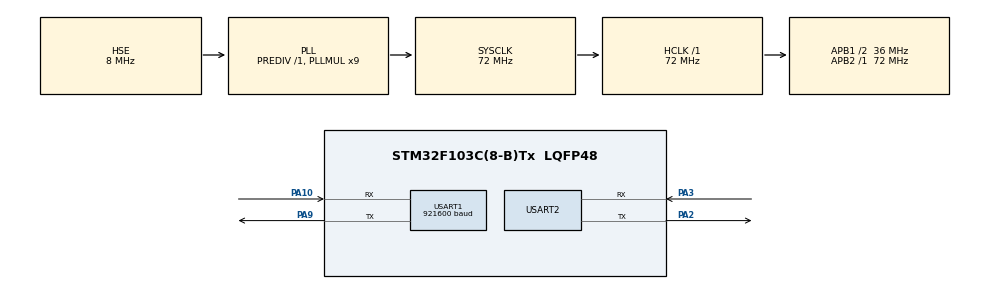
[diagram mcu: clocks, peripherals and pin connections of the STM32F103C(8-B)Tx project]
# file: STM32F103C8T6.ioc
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Mcu.Family=STM32F1
Mcu.Name=STM32F103C(8-B)Tx
Mcu.Package=LQFP48
NVIC.PriorityGroup=NVIC_PRIORITYGROUP_4
NVIC.USART1_IRQn=true\:0\:0\:false\:false\:true\:true\:true\:true
NVIC.USART2_IRQn=true\:0\:0\:false\:false\:true\:true\:true\:true
PA10.Mode=Asynchronous
PA10.Signal=USART1_RX
PA13.Mode=Serial_Wire
PA13.Signal=SYS_JTMS-SWDIO
PA14.Mode=Serial_Wire
PA14.Signal=SYS_JTCK-SWCLK
PA2.Mode=Asynchronous
PA2.Signal=USART2_TX
PA3.Mode=Asynchronous
PA3.Signal=USART2_RX
PA9.Mode=Asynchronous
PA9.Signal=USART1_TX
PD0-OSC_IN.Mode=HSE-External-Oscillator
PD0-OSC_IN.Signal=RCC_OSC_IN
PD1-OSC_OUT.Mode=HSE-External-Oscillator
PD1-OSC_OUT.Signal=RCC_OSC_OUT
ProjectManager.HeapSize=0x200
ProjectManager.StackSize=0x400
ProjectManager.TargetToolchain=MDK-ARM V5.32
RCC.AHBFreq_Value=72000000
RCC.APB1CLKDivider=RCC_HCLK_DIV2
RCC.APB1Freq_Value=36000000
RCC.APB1TimFreq_Value=72000000
RCC.APB2Freq_Value=72000000
RCC.APB2TimFreq_Value=72000000
RCC.HCLKFreq_Value=72000000
RCC.PLLMUL=RCC_PLL_MUL9
RCC.PLLSourceVirtual=RCC_PLLSOURCE_HSE
RCC.SYSCLKFreq_VALUE=72000000
RCC.SYSCLKSource=RCC_SYSCLKSOURCE_PLLCLK
RCC.USBFreq_Value=72000000
USART1.BaudRate=921600
USART1.VirtualMode=VM_ASYNC
USART2.VirtualMode=VM_ASYNC
board=custom

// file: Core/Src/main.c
/* USER CODE BEGIN Header */
/**
  ******************************************************************************
  * @file           : main.c
  * @brief          : Main program body
  ******************************************************************************
  * @attention
  *
  * Copyright (c) 2026 STMicroelectronics.
  * All rights reserved.
  *
  * This software is licensed under terms that can be found in the LICENSE file
  * in the root directory of this software component.
  * If no LICENSE file comes with this software, it is provided AS-IS.
  *
  ******************************************************************************
  */
/* USER CODE END Header */
#include "main.h"

/* USER CODE BEGIN Includes */
#include "protocol.h"
#include <stdio.h>

/* USER CODE END Includes */

UART_HandleTypeDef huart1;
UART_HandleTypeDef huart2;

/* USER CODE BEGIN PV */

uint8_t uart_sync_byte = 0;

uint8_t uart_rx_frame[
    PROTOCOL_ATTITUDE_FRAME_LEN
];

volatile uint8_t uart_rx_state = 0;
volatile uint8_t uart_frame_pending = 0;

volatile HAL_StatusTypeDef uart_rx_start_status = HAL_ERROR;

Protocol_Attitude_t received_attitude;

uint16_t received_sequence = 0;

volatile Protocol_Status_t protocol_last_status = PROTOCOL_OK;

volatile uint32_t frame_ok_count = 0;
volatile uint32_t frame_crc_error_count = 0;
volatile uint32_t frame_other_error_count = 0;

volatile uint32_t frame_rate = 0;

uint32_t frame_rate_last_tick = 0;
uint32_t frame_rate_last_count = 0;

uint8_t retransmit_request_frame[
    PROTOCOL_RETRANSMIT_REQUEST_LEN
];

volatile uint8_t
    retransmit_request_pending = 0;

volatile uint16_t
    retransmit_request_sequence = 0;

volatile HAL_StatusTypeDef
    retransmit_request_tx_status = HAL_ERROR;

volatile uint32_t
    retransmit_request_tx_count = 0;

volatile uint32_t
    retransmit_request_tx_error_count = 0;

/* Wait for the requested frame to come back */
volatile uint8_t retransmit_waiting = 0;

volatile uint16_t
    retransmit_waiting_sequence = 0;

volatile uint32_t
    retransmit_success_count = 0;

char pc_attitude_buffer[64];

uint32_t pc_attitude_last_tick = 0;

volatile uint8_t pc_attitude_tx_busy = 0;

volatile HAL_StatusTypeDef
    pc_attitude_tx_status = HAL_ERROR;

volatile uint32_t
    pc_attitude_tx_count = 0;

volatile uint32_t
    pc_attitude_tx_busy_count = 0;

uint8_t pc_rx_byte = 0;

char pc_rx_line[64];

volatile uint8_t pc_rx_index = 0;
volatile uint8_t pc_command_pending = 0;

volatile HAL_StatusTypeDef
    pc_rx_start_status = HAL_ERROR;

volatile float pc_kp = 0.0f;
volatile float pc_ki = 0.0f;

volatile uint32_t
    pc_gain_cmd_count = 0;

volatile uint32_t
    pc_gain_cmd_error_count = 0;

uint8_t gains_tx_frame[
    PROTOCOL_SET_GAINS_FRAME_LEN
];

volatile uint16_t
    gains_tx_sequence = 0;

volatile HAL_StatusTypeDef
    gains_tx_status = HAL_ERROR;

volatile uint32_t
    gains_tx_count = 0;

volatile uint32_t
    gains_tx_error_count = 0;

volatile uint8_t
    gains_waiting = 0;

volatile uint16_t
    gains_waiting_sequence = 0;

volatile Protocol_Status_t
    gains_ack_status = PROTOCOL_OK;

uint16_t gains_ack_sequence = 0;

float gains_ack_kp = 0.0f;
float gains_ack_ki = 0.0f;

uint8_t gains_ack_result = 0xFF;

volatile uint32_t
    gains_ack_count = 0;

volatile uint32_t
    gains_ack_error_count = 0;

volatile uint8_t
    pc_gain_ack_pending = 0;

char pc_gain_ack_buffer[64];

volatile HAL_StatusTypeDef
    pc_gain_ack_tx_status = HAL_ERROR;

volatile uint32_t
    pc_gain_ack_tx_count = 0;
/* USER CODE END PV */

void SystemClock_Config(void);
static void MX_GPIO_Init(void);
static void MX_USART1_UART_Init(void);
static void MX_USART2_UART_Init(void);

int main(void)
{

  /* MCU Configuration--------------------------------------------------------*/

  /* Reset of all peripherals, Initializes the Flash interface and the Systick. */
  HAL_Init();

  /* Configure the system clock */
  SystemClock_Config();

  /* Initialize all configured peripherals */
  MX_GPIO_Init();
  MX_USART1_UART_Init();
  MX_USART2_UART_Init();
  /* USER CODE BEGIN 2 */

uart_rx_state = 0;

uart_rx_start_status =
    HAL_UART_Receive_IT(
        &huart1,
        &uart_sync_byte,
        1
    );

frame_rate_last_tick =
    HAL_GetTick();

frame_rate_last_count =
    frame_ok_count;

pc_attitude_last_tick = HAL_GetTick();

pc_rx_start_status =
    HAL_UART_Receive_IT(
        &huart2,
        &pc_rx_byte,
        1
    );
  /* USER CODE END 2 */

  /* Infinite loop */
  while (1)
  {

    /* USER CODE BEGIN 3 */

		if (uart_frame_pending)
		{
if (uart_rx_frame[2] ==
    PROTOCOL_CMD_ATTITUDE)
{
    protocol_last_status =
        Protocol_ParseAttitudeFrame(
            uart_rx_frame,
            PROTOCOL_ATTITUDE_FRAME_LEN,
            &received_sequence,
            &received_attitude
        );

    if (protocol_last_status == PROTOCOL_OK)
    {
        frame_ok_count++;

        /*
         * Was this the frame we requested again?
         */
        if ((retransmit_waiting != 0) &&
            (received_sequence ==
             retransmit_waiting_sequence))
        {
            retransmit_success_count++;

            retransmit_waiting = 0;
        }
    }
    else if (
        protocol_last_status ==
        PROTOCOL_ERROR_CRC
    )
    {
        frame_crc_error_count++;

        /*
         * Protocol_ParseAttitudeFrame()
         * already extracted SEQ before
         * checking CRC.
         */
        retransmit_request_sequence =
            received_sequence;

        retransmit_request_pending = 1;
    }
    else
    {
        frame_other_error_count++;
    }
}
else if (uart_rx_frame[2] ==
         PROTOCOL_CMD_GAINS_ACK)
{
    gains_ack_status =
        Protocol_ParseGainsAckFrame(
            uart_rx_frame,
            PROTOCOL_GAINS_ACK_FRAME_LEN,
            &gains_ack_sequence,
            &gains_ack_kp,
            &gains_ack_ki,
            &gains_ack_result
        );

    if ((gains_ack_status ==
         PROTOCOL_OK) &&
        (gains_ack_result ==
         PROTOCOL_GAINS_ACK_OK) &&
        (gains_waiting != 0) &&
        (gains_ack_sequence ==
         gains_waiting_sequence))
    {
        gains_ack_count++;

        gains_waiting = 0;

        pc_gain_ack_pending = 1;
    }
    else
    {
        gains_ack_error_count++;
    }
}
else
{
    frame_other_error_count++;
}

		    uart_frame_pending = 0;

		    uart_rx_state = 0;

		    /* Wait for next frame header */
		    HAL_UART_Receive_IT(
		        &huart1,
		        &uart_sync_byte,
		        1
		    );
/*
 * Send retransmit request only after
 * RX has already been armed again.
 */
if (retransmit_request_pending)
{
    Protocol_BuildRetransmitRequest(
        retransmit_request_frame,
        retransmit_request_sequence
    );

    retransmit_request_tx_status =
        HAL_UART_Transmit(
            &huart1,
            retransmit_request_frame,
            PROTOCOL_RETRANSMIT_REQUEST_LEN,
            10
        );

    if (retransmit_request_tx_status ==
        HAL_OK)
    {
        retransmit_request_tx_count++;

        retransmit_waiting = 1;

        retransmit_waiting_sequence =
            retransmit_request_sequence;
    }
    else
    {
        retransmit_request_tx_error_count++;
    }

    retransmit_request_pending = 0;
}

		}

			/* Calculate actual frame rate */
		if ((HAL_GetTick() - frame_rate_last_tick) >= 1000)
		{
		    frame_rate =
		        frame_ok_count -
		        frame_rate_last_count;

		    frame_rate_last_count =
		        frame_ok_count;

		    frame_rate_last_tick += 1000;
		}

/*
 * Send Roll / Pitch / Yaw to PC at 100Hz
 */
if (pc_gain_ack_pending != 0)
{
    if (pc_attitude_tx_busy == 0)
    {
        int pc_gain_ack_length;

        pc_gain_ack_length =
            snprintf(
                pc_gain_ack_buffer,
                sizeof(pc_gain_ack_buffer),
                "GAIN_OK,%.6f,%.6f\n",
                gains_ack_kp,
                gains_ack_ki
            );

        if ((pc_gain_ack_length > 0) &&
            (pc_gain_ack_length <
             sizeof(pc_gain_ack_buffer)))
        {
            pc_gain_ack_tx_status =
                HAL_UART_Transmit_IT(
                    &huart2,
                    (uint8_t *)pc_gain_ack_buffer,
                    pc_gain_ack_length
                );

            if (pc_gain_ack_tx_status ==
                HAL_OK)
            {
                pc_attitude_tx_busy = 1;

                pc_gain_ack_pending = 0;

                pc_gain_ack_tx_count++;
            }
        }
    }
}
else if ((HAL_GetTick() - pc_attitude_last_tick) >= 10)
{
    int pc_attitude_length;

    pc_attitude_last_tick += 10;

    if (pc_attitude_tx_busy == 0)
    {
        pc_attitude_length =
            snprintf(
                pc_attitude_buffer,
                sizeof(pc_attitude_buffer),
                "%.3f,%.3f,%.3f\n",
                received_attitude.roll,
                received_attitude.pitch,
                received_attitude.yaw
            );

        if ((pc_attitude_length > 0) &&
            (pc_attitude_length <
             sizeof(pc_attitude_buffer)))
        {
            pc_attitude_tx_status =
                HAL_UART_Transmit_IT(
                    &huart2,
                    (uint8_t *)pc_attitude_buffer,
                    pc_attitude_length
                );

            if (pc_attitude_tx_status ==
                HAL_OK)
            {
                pc_attitude_tx_busy = 1;

                pc_attitude_tx_count++;
            }
        }
    }
    else
    {
        pc_attitude_tx_busy_count++;
    }
}

/*
 * Parse gain command from PC
 *
 * Example:
 * KP=2.50,KI=0.02
 */
if (pc_command_pending)
{
    float new_kp;
    float new_ki;

    pc_command_pending = 0;

    if (sscanf(
            pc_rx_line,
            "KP=%f,KI=%f",
            &new_kp,
            &new_ki
        ) == 2)
    {
        pc_kp = new_kp;
        pc_ki = new_ki;

        pc_gain_cmd_count++;

        /*
         * Build SET_GAINS protocol frame
         */
        Protocol_BuildSetGainsFrame(
            gains_tx_frame,
            gains_tx_sequence,
            pc_kp,
            pc_ki
        );

        /*
         * Send gain command to slave
         */
        gains_tx_status =
            HAL_UART_Transmit(
                &huart1,
                gains_tx_frame,
                PROTOCOL_SET_GAINS_FRAME_LEN,
                10
            );

        if (gains_tx_status == HAL_OK)
        {
            gains_tx_count++;

            gains_waiting = 1;

            gains_waiting_sequence =
                gains_tx_sequence;

            gains_tx_sequence++;
        }
        else
        {
            gains_tx_error_count++;
        }
    }
    else
    {
        pc_gain_cmd_error_count++;
    }
}

  }
  /* USER CODE END 3 */
}

void SystemClock_Config(void)
{
  RCC_OscInitTypeDef RCC_OscInitStruct = {0};
  RCC_ClkInitTypeDef RCC_ClkInitStruct = {0};

  /** Initializes the RCC Oscillators according to the specified parameters
  * in the RCC_OscInitTypeDef structure.
  */
  RCC_OscInitStruct.OscillatorType = RCC_OSCILLATORTYPE_HSE;
  RCC_OscInitStruct.HSEState = RCC_HSE_ON;
  RCC_OscInitStruct.HSEPredivValue = RCC_HSE_PREDIV_DIV1;
  RCC_OscInitStruct.HSIState = RCC_HSI_ON;
  RCC_OscInitStruct.PLL.PLLState = RCC_PLL_ON;
  RCC_OscInitStruct.PLL.PLLSource = RCC_PLLSOURCE_HSE;
  RCC_OscInitStruct.PLL.PLLMUL = RCC_PLL_MUL9;
  if (HAL_RCC_OscConfig(&RCC_OscInitStruct) != HAL_OK)
  {
    Error_Handler();
  }

  /** Initializes the CPU, AHB and APB buses clocks
  */
  RCC_ClkInitStruct.ClockType = RCC_CLOCKTYPE_HCLK|RCC_CLOCKTYPE_SYSCLK
                              |RCC_CLOCKTYPE_PCLK1|RCC_CLOCKTYPE_PCLK2;
  RCC_ClkInitStruct.SYSCLKSource = RCC_SYSCLKSOURCE_PLLCLK;
  RCC_ClkInitStruct.AHBCLKDivider = RCC_SYSCLK_DIV1;
  RCC_ClkInitStruct.APB1CLKDivider = RCC_HCLK_DIV2;
  RCC_ClkInitStruct.APB2CLKDivider = RCC_HCLK_DIV1;

  if (HAL_RCC_ClockConfig(&RCC_ClkInitStruct, FLASH_LATENCY_2) != HAL_OK)
  {
    Error_Handler();
  }
}

static void MX_USART1_UART_Init(void)
{

  huart1.Instance = USART1;
  huart1.Init.BaudRate = 921600;
  huart1.Init.WordLength = UART_WORDLENGTH_8B;
  huart1.Init.StopBits = UART_STOPBITS_1;
  huart1.Init.Parity = UART_PARITY_NONE;
  huart1.Init.Mode = UART_MODE_TX_RX;
  huart1.Init.HwFlowCtl = UART_HWCONTROL_NONE;
  huart1.Init.OverSampling = UART_OVERSAMPLING_16;
  if (HAL_UART_Init(&huart1) != HAL_OK)
  {
    Error_Handler();
  }

}

static void MX_USART2_UART_Init(void)
{

  huart2.Instance = USART2;
  huart2.Init.BaudRate = 115200;
  huart2.Init.WordLength = UART_WORDLENGTH_8B;
  huart2.Init.StopBits = UART_STOPBITS_1;
  huart2.Init.Parity = UART_PARITY_NONE;
  huart2.Init.Mode = UART_MODE_TX_RX;
  huart2.Init.HwFlowCtl = UART_HWCONTROL_NONE;
  huart2.Init.OverSampling = UART_OVERSAMPLING_16;
  if (HAL_UART_Init(&huart2) != HAL_OK)
  {
    Error_Handler();
  }

}

static void MX_GPIO_Init(void)
{

  /* GPIO Ports Clock Enable */
  __HAL_RCC_GPIOD_CLK_ENABLE();
  __HAL_RCC_GPIOA_CLK_ENABLE();

}

/* USER CODE BEGIN 4 */

void HAL_UART_RxCpltCallback(UART_HandleTypeDef *huart)
{
    if (huart->Instance == USART1)
    {
        /*
         * State 0:
         * wait for 0xAA
         */
        if (uart_rx_state == 0)
        {
            if (uart_sync_byte == PROTOCOL_HEADER_1)
            {
                uart_rx_frame[0] =
                    uart_sync_byte;

                uart_rx_state = 1;
            }

            HAL_UART_Receive_IT(
                &huart1,
                &uart_sync_byte,
                1
            );
        }

        /*
         * State 1:
         * wait for 0x55
         */
        else if (uart_rx_state == 1)
        {
            if (uart_sync_byte == PROTOCOL_HEADER_2)
            {
                uart_rx_frame[1] =
                    uart_sync_byte;

                uart_rx_state = 2;

                /*
                 * Header is complete.
                 * Receive remaining 34 bytes.
                 */
                HAL_UART_Receive_IT(
                    &huart1,
                    &uart_rx_frame[2],
                    PROTOCOL_ATTITUDE_FRAME_LEN - 2
                );
            }
            else
            {
                /*
                 * Resynchronization
                 */
                if (uart_sync_byte == PROTOCOL_HEADER_1)
                {
                    uart_rx_frame[0] =
                        uart_sync_byte;

                    uart_rx_state = 1;
                }
                else
                {
                    uart_rx_state = 0;
                }

                HAL_UART_Receive_IT(
                    &huart1,
                    &uart_sync_byte,
                    1
                );
            }
        }

        /*
         * State 2:
         * complete frame received
         */
        else if (uart_rx_state == 2)
        {
            uart_frame_pending = 1;

            /*
             * Temporarily stop receiving.
             * main() parses the frame first.
             */
            uart_rx_state = 3;
        }
    }
		    else if (huart->Instance == USART2)
    {
        if (pc_rx_byte == '\n')
        {
            if (pc_rx_index > 0)
            {
                pc_rx_line[pc_rx_index] = '\0';

                pc_command_pending = 1;

                pc_rx_index = 0;
            }
        }
        else if (pc_rx_byte != '\r')
        {
            if (pc_rx_index <
                (sizeof(pc_rx_line) - 1))
            {
                pc_rx_line[pc_rx_index] =
                    (char)pc_rx_byte;

                pc_rx_index++;
            }
            else
            {
                /*
                 * Buffer overflow:
                 * discard current command
                 */
                pc_rx_index = 0;
            }
        }

        /*
         * Continue receiving next PC byte
         */
        HAL_UART_Receive_IT(
            &huart2,
            &pc_rx_byte,
            1
        );
    }
}

void HAL_UART_TxCpltCallback(
    UART_HandleTypeDef *huart
)
{
    if (huart->Instance == USART2)
    {
        pc_attitude_tx_busy = 0;
    }
}
/* USER CODE END 4 */

void Error_Handler(void)
{
  __disable_irq();
  while (1)
  {
  }
}
